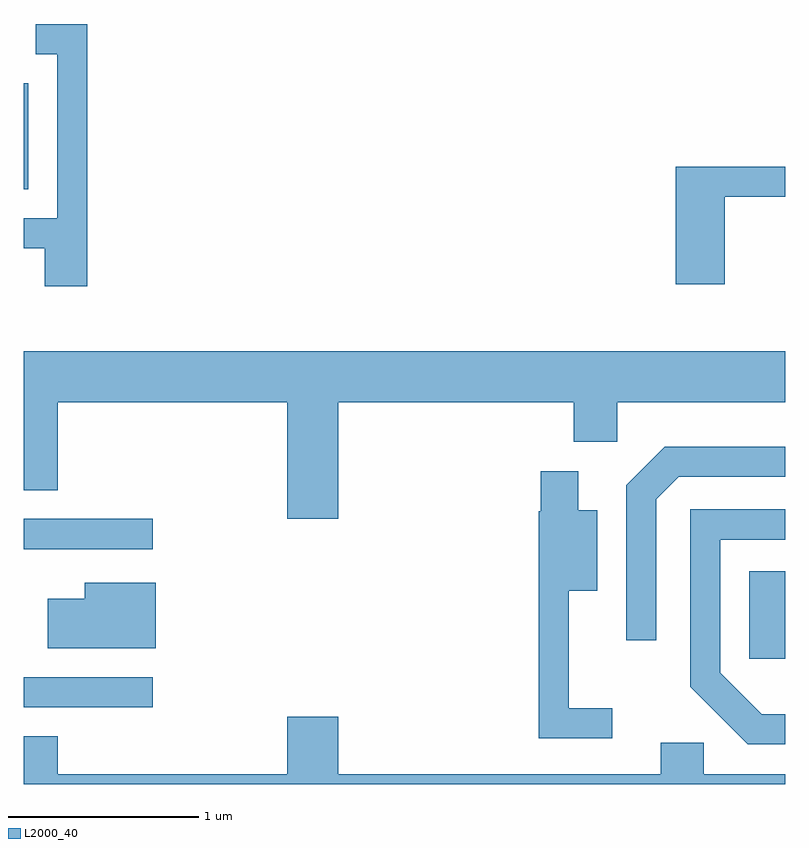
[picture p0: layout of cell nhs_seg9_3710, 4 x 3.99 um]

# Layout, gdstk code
import gdstk
lib = gdstk.Library(unit=1e-6, precision=1e-09)
def R(c, l, rs):  # rectangles x0, y0, x1, y1
    for r in rs: c.add(gdstk.rectangle(r[:2], r[2:], *l))
def P(c, l, *ps):  # polygons
    for p in ps: c.add(gdstk.Polygon(p, *l))
L2000_40 = (2000, 40)

nhs_seg9_3710 = lib.new_cell('nhs_seg9_3710')
R(nhs_seg9_3710, L2000_40, [(293.611,2036.836,294.288,2036.994), (297.421,2037.091,297.611,2037.549), (293.611,2037.666,294.288,2037.824), (293.611,2039.556,293.634,2040.114)])
P(nhs_seg9_3710, L2000_40, [(293.944,2040.424),(293.673,2040.424),(293.673,2040.266),(293.786,2040.266),(293.786,2039.404),(293.611,2039.404),(293.611,2039.246),(293.721,2039.246),(293.721,2039.046),(293.944,2039.046)],
  [(297.294,2039.516),(297.611,2039.516),(297.611,2039.674),(297.036,2039.674),(297.036,2039.056),(297.294,2039.056)],
  [(295.264,2038.436),(296.501,2038.436),(296.501,2038.231),(296.729,2038.231),(296.729,2038.436),(297.611,2038.436),(297.611,2038.704),(293.611,2038.704),(293.611,2037.976),(293.789,2037.976),(293.789,2038.436),(294.996,2038.436),(294.996,2037.826),(295.264,2037.826)],
  [(296.934,2037.929),(297.052,2038.046),(297.611,2038.046),(297.611,2038.204),(296.979,2038.204),(296.776,2038.002),(296.776,2037.188),(296.934,2037.188)],
  [(296.703,2036.829),(296.474,2036.829),(296.474,2037.446),(296.624,2037.446),(296.624,2037.869),(296.524,2037.869),(296.524,2038.074),(296.326,2038.074),(296.326,2037.865),(296.316,2037.865),(296.316,2036.671),(296.703,2036.671)],
  [(297.611,2036.799),(297.487,2036.799),(297.269,2037.017),(297.269,2037.716),(297.611,2037.716),(297.611,2037.874),(297.111,2037.874),(297.111,2036.944),(297.414,2036.641),(297.611,2036.641)],
  [(294.304,2037.489),(293.931,2037.489),(293.931,2037.404),(293.736,2037.404),(293.736,2037.146),(294.304,2037.146)],
  [(297.611,2036.484),(297.184,2036.484),(297.184,2036.649),(296.956,2036.649),(296.956,2036.484),(295.264,2036.484),(295.264,2036.784),(294.996,2036.784),(294.996,2036.484),(293.789,2036.484),(293.789,2036.684),(293.611,2036.684),(293.611,2036.432),(297.611,2036.432)])

lib.write_gds('nhs_seg9_3710.gds')
